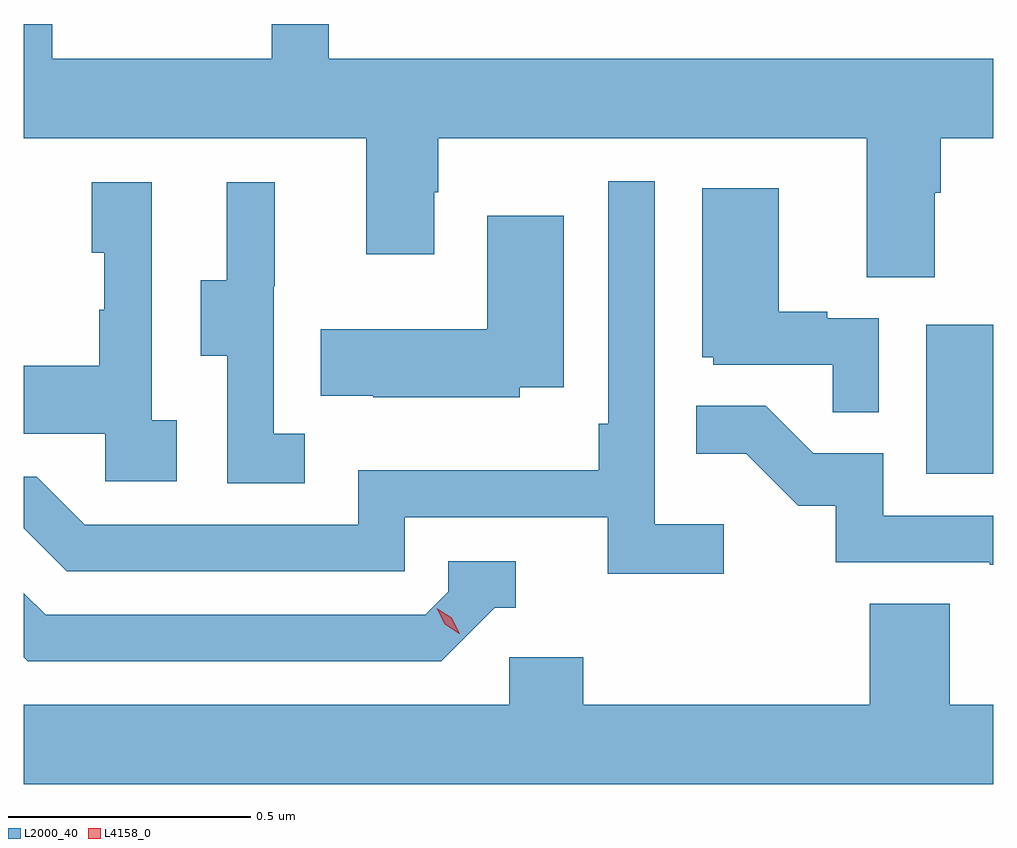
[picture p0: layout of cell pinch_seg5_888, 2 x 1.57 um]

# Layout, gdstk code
import gdstk
lib = gdstk.Library(unit=1e-6, precision=1e-09)
def R(c, l, rs):  # rectangles x0, y0, x1, y1
    for r in rs: c.add(gdstk.rectangle(r[:2], r[2:], *l))
def P(c, l, *ps):  # polygons
    for p in ps: c.add(gdstk.Polygon(p, *l))
L2000_40 = (2000, 40)
L4158_0 = (4158, 0)

pinch_seg5_888 = lib.new_cell('pinch_seg5_888')
R(pinch_seg5_888, L2000_40, [(856.448,877.38,856.586,877.687)])
P(pinch_seg5_888, L2000_40, [(856.465,877.96),(856.478,877.96),(856.478,878.072),(856.586,878.072),(856.586,878.236),(855.215,878.236),(855.215,878.308),(855.098,878.308),(855.098,878.236),(854.645,878.236),(854.645,878.308),(854.586,878.308),(854.586,878.072),(855.293,878.072),(855.293,877.833),(855.433,877.833),(855.433,877.961),(855.441,877.961),(855.441,878.072),(856.325,878.072),(856.325,877.786),(856.465,877.786)],
  [(856.03,877.276),(855.888,877.276),(855.888,877.984),(855.792,877.984),(855.792,877.483),(855.772,877.483),(855.772,877.387),(855.276,877.387),(855.276,877.275),(854.712,877.275),(854.613,877.374),(854.586,877.374),(854.586,877.268),(854.675,877.179),(855.372,877.179),(855.372,877.29),(855.791,877.29),(855.791,877.174),(856.03,877.174)],
  [(854.902,877.49),(854.85,877.49),(854.85,877.981),(854.726,877.981),(854.726,877.836),(854.752,877.836),(854.752,877.718),(854.742,877.718),(854.742,877.603),(854.586,877.603),(854.586,877.463),(854.754,877.463),(854.754,877.365),(854.902,877.365)],
  [(855.166,877.463),(855.102,877.463),(855.102,877.767),(855.104,877.767),(855.104,877.981),(855.005,877.981),(855.005,877.779),(854.951,877.779),(854.951,877.624),(855.006,877.624),(855.006,877.36),(855.166,877.36)],
  [(856.35,877.701),(856.244,877.701),(856.244,877.714),(856.144,877.714),(856.144,877.969),(855.986,877.969),(855.986,877.62),(856.008,877.62),(856.008,877.605),(856.255,877.605),(856.255,877.507),(856.35,877.507)],
  [(855.609,877.559),(855.7,877.559),(855.7,877.912),(855.542,877.912),(855.542,877.678),(855.199,877.678),(855.199,877.541),(855.307,877.541),(855.307,877.538),(855.609,877.538)],
  [(856.586,877.293),(856.359,877.293),(856.359,877.422),(856.215,877.422),(856.117,877.52),(855.973,877.52),(855.973,877.421),(856.077,877.421),(856.184,877.314),(856.261,877.314),(856.261,877.197),(856.579,877.197),(856.579,877.192),(856.586,877.192)],
  [(855.558,877.104),(855.601,877.104),(855.601,877.2),(855.462,877.2),(855.462,877.137),(855.414,877.089),(854.631,877.089),(854.586,877.134),(854.586,877.001),(854.594,876.993),(855.447,876.993)],
  [(856.586,876.904),(856.496,876.904),(856.496,877.112),(856.331,877.112),(856.331,876.904),(855.74,876.904),(855.74,877.002),(855.588,877.002),(855.588,876.904),(854.586,876.904),(854.586,876.74),(856.586,876.74)])
P(pinch_seg5_888, L4158_0, [(855.484,877.05),(855.454,877.07),(855.438,877.103),(855.438,877.103),(855.438,877.103),(855.469,877.083),(855.485,877.05),(855.485,877.05)])

lib.write_gds('pinch_seg5_888.gds')
